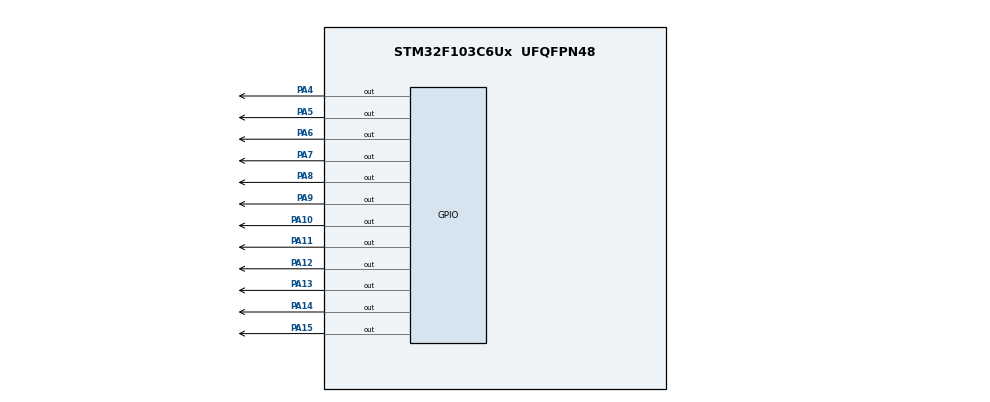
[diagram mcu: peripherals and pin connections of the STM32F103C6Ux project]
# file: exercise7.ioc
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Mcu.Family=STM32F1
Mcu.Name=STM32F103C6Ux
Mcu.Package=UFQFPN48
NVIC.PriorityGroup=NVIC_PRIORITYGROUP_4
PA10.Signal=GPIO_Output
PA11.Signal=GPIO_Output
PA12.Signal=GPIO_Output
PA13.Signal=GPIO_Output
PA14.Signal=GPIO_Output
PA15.Signal=GPIO_Output
PA4.Signal=GPIO_Output
PA5.Signal=GPIO_Output
PA6.Signal=GPIO_Output
PA7.Signal=GPIO_Output
PA8.Signal=GPIO_Output
PA9.Signal=GPIO_Output
ProjectManager.HeapSize=0x200
ProjectManager.StackSize=0x400
ProjectManager.TargetToolchain=STM32CubeIDE
RCC.APB1Freq_Value=8000000
RCC.APB2Freq_Value=8000000
VP_SYS_VS_ND.Mode=No_Debug
board=custom

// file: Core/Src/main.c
/* USER CODE BEGIN Header */
/**
  ******************************************************************************
  * @file           : main.c
  * @brief          : Main program body
  ******************************************************************************
  * @attention
  *
  * <h2><center>&copy; Copyright (c) 2023 STMicroelectronics.
  * All rights reserved.</center></h2>
  *
  * This software component is licensed by ST under BSD 3-Clause license,
  * the "License"; You may not use this file except in compliance with the
  * License. You may obtain a copy of the License at:
  *                        opensource.org/licenses/BSD-3-Clause
  *
  ******************************************************************************
  */
/* USER CODE END Header */
#include "main.h"

void SystemClock_Config(void);
static void MX_GPIO_Init(void);

int main(void)
{

  /* MCU Configuration--------------------------------------------------------*/

  /* Reset of all peripherals, Initializes the Flash interface and the Systick. */
  HAL_Init();

  /* Configure the system clock */
  SystemClock_Config();

  /* Initialize all configured peripherals */
  MX_GPIO_Init();

  /* Infinite loop */
  /* USER CODE BEGIN WHILE */
  uint16_t leds[] = {GPIO_PIN_4, GPIO_PIN_5, GPIO_PIN_6, GPIO_PIN_7,
                       GPIO_PIN_8, GPIO_PIN_9, GPIO_PIN_10, GPIO_PIN_11,
  					 GPIO_PIN_12, GPIO_PIN_13, GPIO_PIN_14, GPIO_PIN_15};
    for(int i = 0; i < 12; i++){
  	  HAL_GPIO_WritePin(GPIOA, leds[i], GPIO_PIN_SET);
    }

  while (1)
  {
	  for (int i = 0; i < 12; i++)
	  {
	      HAL_GPIO_WritePin(GPIOA, leds[i], GPIO_PIN_RESET);
	      HAL_Delay(1000);
	  }
	  clearAllClock();
    /* USER CODE END WHILE */

  }
}

void SystemClock_Config(void)
{
  RCC_OscInitTypeDef RCC_OscInitStruct = {0};
  RCC_ClkInitTypeDef RCC_ClkInitStruct = {0};

  /** Initializes the RCC Oscillators according to the specified parameters
  * in the RCC_OscInitTypeDef structure.
  */
  RCC_OscInitStruct.OscillatorType = RCC_OSCILLATORTYPE_HSI;
  RCC_OscInitStruct.HSIState = RCC_HSI_ON;
  RCC_OscInitStruct.HSICalibrationValue = RCC_HSICALIBRATION_DEFAULT;
  RCC_OscInitStruct.PLL.PLLState = RCC_PLL_NONE;
  if (HAL_RCC_OscConfig(&RCC_OscInitStruct) != HAL_OK)
  {
    Error_Handler();
  }
  /** Initializes the CPU, AHB and APB buses clocks
  */
  RCC_ClkInitStruct.ClockType = RCC_CLOCKTYPE_HCLK|RCC_CLOCKTYPE_SYSCLK
                              |RCC_CLOCKTYPE_PCLK1|RCC_CLOCKTYPE_PCLK2;
  RCC_ClkInitStruct.SYSCLKSource = RCC_SYSCLKSOURCE_HSI;
  RCC_ClkInitStruct.AHBCLKDivider = RCC_SYSCLK_DIV1;
  RCC_ClkInitStruct.APB1CLKDivider = RCC_HCLK_DIV1;
  RCC_ClkInitStruct.APB2CLKDivider = RCC_HCLK_DIV1;

  if (HAL_RCC_ClockConfig(&RCC_ClkInitStruct, FLASH_LATENCY_0) != HAL_OK)
  {
    Error_Handler();
  }
}

static void MX_GPIO_Init(void)
{
  GPIO_InitTypeDef GPIO_InitStruct = {0};

  /* GPIO Ports Clock Enable */
  __HAL_RCC_GPIOA_CLK_ENABLE();

  /*Configure GPIO pin Output Level */
  HAL_GPIO_WritePin(GPIOA, GPIO_PIN_4|GPIO_PIN_5|GPIO_PIN_6|GPIO_PIN_7
                          |GPIO_PIN_8|GPIO_PIN_9|GPIO_PIN_10|GPIO_PIN_11
                          |GPIO_PIN_12|GPIO_PIN_13|GPIO_PIN_14|GPIO_PIN_15, GPIO_PIN_RESET);

  /*Configure GPIO pins : PA4 PA5 PA6 PA7
                           PA8 PA9 PA10 PA11
                           PA12 PA13 PA14 PA15 */
  GPIO_InitStruct.Pin = GPIO_PIN_4|GPIO_PIN_5|GPIO_PIN_6|GPIO_PIN_7
                          |GPIO_PIN_8|GPIO_PIN_9|GPIO_PIN_10|GPIO_PIN_11
                          |GPIO_PIN_12|GPIO_PIN_13|GPIO_PIN_14|GPIO_PIN_15;
  GPIO_InitStruct.Mode = GPIO_MODE_OUTPUT_PP;
  GPIO_InitStruct.Pull = GPIO_NOPULL;
  GPIO_InitStruct.Speed = GPIO_SPEED_FREQ_LOW;
  HAL_GPIO_Init(GPIOA, &GPIO_InitStruct);

}

/* USER CODE BEGIN 4 */
void clearAllClock () {
	uint16_t leds[] = {GPIO_PIN_4, GPIO_PIN_5, GPIO_PIN_6, GPIO_PIN_7,
                     		GPIO_PIN_8, GPIO_PIN_9, GPIO_PIN_10, GPIO_PIN_11,
				GPIO_PIN_12, GPIO_PIN_13, GPIO_PIN_14, GPIO_PIN_15};
  	for(int i = 0; i < 12; i++){
	  HAL_GPIO_WritePin(GPIOA, leds[i], GPIO_PIN_SET);
  	}
}

/* USER CODE END 4 */

void Error_Handler(void)
{
  __disable_irq();
  while (1)
  {
  }
}

/************************ (C) COPYRIGHT STMicroelectronics *****END OF FILE****/
